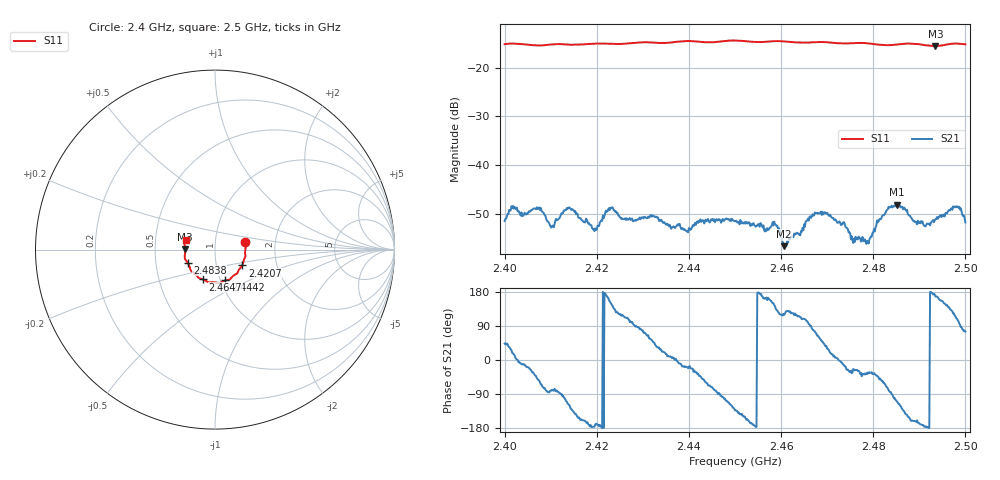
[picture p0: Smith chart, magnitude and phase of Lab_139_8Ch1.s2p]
# Hz S RI R 50
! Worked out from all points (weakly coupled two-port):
!   601 points, 2.4 GHz to 2.5 GHz, reference 50 ohm
!   highest |S21| = -48.03 dB at 2.4852 GHz (marker M1); lowest = -56.5 dB at 2.4607 GHz (marker M2)
!   lowest |S11| = -15.6 dB at 2.4935 GHz (marker M3), VSWR 1.40, Z = 35.8 + j0.159 ohm
!   |S11| at or under -10 dB: start of sweep to end of sweep
!   S12 and S22 are empty: the file has one direction only
!   S11 on the Smith chart (normalised r, x): 2.4 GHz: 1.40, +0.11; 2.4207 GHz: 1.33, -0.24; 2.4442 GHz: 1.05, -0.37; 2.4647 GHz: 0.83, -0.29; 2.4838 GHz: 0.73, -0.11; 2.5 GHz: 0.71, +0.08
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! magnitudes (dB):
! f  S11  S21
! 2.4 GHz  -15.2  -51.4
! 2.402 GHz  -15.1  -48.8
! 2.4075 GHz  -15.5  -48.6
! 2.4102 GHz  -15.3  -52.7
! 2.4137 GHz  -15.3  -48.9
! 2.4167 GHz  -15.3  -51.1
! 2.4207 GHz  -15.1  -51.6
! 2.423 GHz  -15.1  -48.6
! 2.4333 GHz  -15.0  -50.7
! 2.4442 GHz  -14.9  -50.9
! 2.45 GHz  -14.5  -51.4
! 2.4587 GHz  -14.6  -52.0
! 2.4607 GHz  -14.7  -56.5
! 2.4647 GHz  -14.9  -52.7
! 2.4667 GHz  -14.9  -50.4
! 2.4785 GHz  -15.0  -56.0
! 2.4833 GHz  -15.4  -48.4
! 2.4838 GHz  -15.4  -48.5
! 2.4852 GHz  -15.3  -48.0
! 2.4935 GHz  -15.6  -51.0
! 2.4978 GHz  -15.1  -48.6
! 2.5 GHz  -15.3  -51.6
